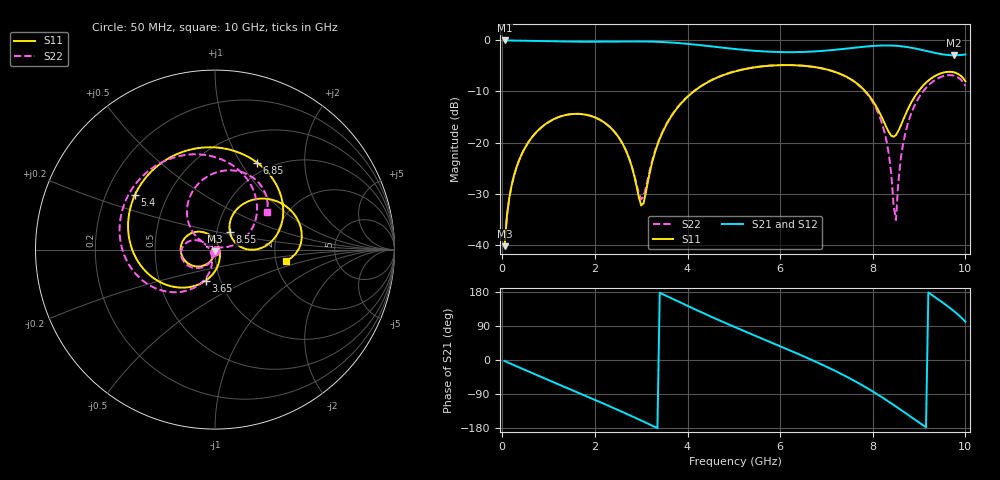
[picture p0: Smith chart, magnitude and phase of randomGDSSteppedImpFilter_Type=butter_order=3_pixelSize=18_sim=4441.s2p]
! freq	dB(S11)	phase(S11)	dB(S12)	phase(S12)
!  dB(S21)	phase(S21)	dB(S22)	phase(S22)
!S-par simulation data
#  GHz  S  DB  R 50
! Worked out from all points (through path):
!   200 points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, 50 MHz to 10 GHz, reference 50 ohm
!   highest |S21| = -0.01 dB at 50 MHz (marker M1); lowest = -2.9 dB at 9.75 GHz (marker M2)
!   group delay of S21, straight-line fit = 162 ps
!   lowest |S11| = -40.3 dB at 50 MHz (marker M3), VSWR 1.02, Z = 49.9 - j0.966 ohm
!   |S11| at or under -10 dB: start of sweep to 4.134 GHz; 7.844 GHz to 8.983 GHz (1.139 GHz wide, 13.5 % of centre)
!   |S22| runs from -40.3 to -4.8 dB; largest |S21 - S12| = 0
!   S11 on the Smith chart (normalised r, x): 50 MHz: 1.00, -0.02; 3.65 GHz: 0.85, -0.30; 5.4 GHz: 0.32, +0.28; 6.85 GHz: 0.87, +1.18; 8.55 GHz: 1.15, +0.23; 10 GHz: 2.27, -0.34
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0.05  -40.28 -92.5  -0.01 -2.7  -0.01 -2.7  -40.26 -92.1
0.2  -28.45 -101.6  -0.02 -10.8  -0.02 -10.8  -28.45 -100.3
0.5  -20.88 -118.8  -0.07 -26.8  -0.07 -26.8  -20.87 -115.7
1.15  -15.26 -155.5  -0.20 -60.9  -0.20 -60.9  -15.25 -147.8
1.75  -14.46 170.6  -0.26 -92.1  -0.26 -92.1  -14.46 -176.0
2.55  -19.50 119.1  -0.21 -134.7  -0.21 -134.7  -19.49 151.6
3  -32.32 24.7  -0.20 -159.7  -0.20 -159.7  -31.10 -162.3
3.4  -19.27 -86.4  -0.29 177.4  -0.29 177.4  -19.07 -102.4
3.65  -14.85 -106.8  -0.41 163.0  -0.41 163.0  -14.73 -110.0
4.35  -8.64 -153.1  -1.00 123.1  -1.00 123.1  -8.57 -142.2
5.05  -6.01 165.3  -1.71 85.3  -1.71 85.3  -5.96 -175.5
5.4  -5.34 145.5  -2.00 67.1  -2.00 67.1  -5.30 168.3
6.7  -5.16 72.7  -2.18 -0.8  -2.18 -0.8  -5.16 107.1
6.85  -5.38 64.1  -2.09 -9.1  -2.09 -9.1  -5.39 99.5
7.85  -10.06 7.7  -1.20 -72.1  -1.20 -72.1  -10.20 41.0
8.35  -18.01 13.6  -0.99 -110.3  -0.99 -110.3  -22.44 12.1
8.5  -18.52 42.0  -1.05 -122.7  -1.05 -122.7  -35.17 108.4
8.55  -17.77 50.3  -1.09 -126.8  -1.09 -126.8  -27.98 143.1
8.7  -14.63 62.3  -1.24 -139.5  -1.24 -139.5  -18.25 145.5
8.95  -10.40 58.0  -1.65 -160.7  -1.65 -160.7  -11.91 128.1
9.75  -6.23 7.8  -2.92 129.3  -2.92 129.3  -6.89 61.2
10  -7.98 -9.0  -2.75 101.0  -2.75 101.0  -8.90 35.9
